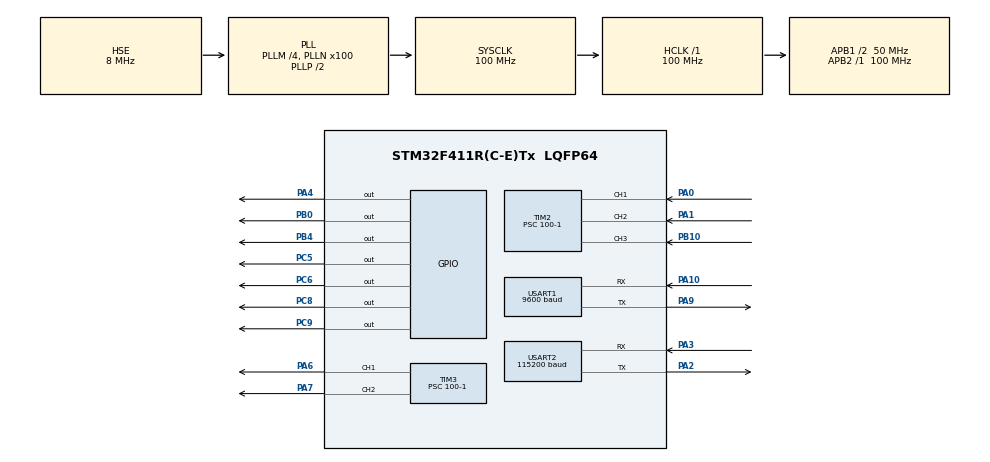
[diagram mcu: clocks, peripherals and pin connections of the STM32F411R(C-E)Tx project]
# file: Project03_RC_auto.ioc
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Mcu.Family=STM32F4
Mcu.Name=STM32F411R(C-E)Tx
Mcu.Package=LQFP64
NVIC.PriorityGroup=NVIC_PRIORITYGROUP_4
NVIC.TIM2_IRQn=true\:0\:0\:false\:false\:true\:true\:true\:true
NVIC.USART1_IRQn=true\:0\:0\:false\:false\:true\:true\:true\:true
NVIC.USART2_IRQn=true\:0\:0\:false\:false\:true\:true\:true\:true
PA0-WKUP.Signal=S_TIM2_CH1_ETR
PA1.Signal=S_TIM2_CH2
PA10.Mode=Asynchronous
PA10.Signal=USART1_RX
PA13.Mode=Serial_Wire
PA13.Signal=SYS_JTMS-SWDIO
PA14.Mode=Serial_Wire
PA14.Signal=SYS_JTCK-SWCLK
PA2.Mode=Asynchronous
PA2.Signal=USART2_TX
PA3.Mode=Asynchronous
PA3.Signal=USART2_RX
PA4.Signal=GPIO_Output
PA6.Signal=S_TIM3_CH1
PA7.Signal=S_TIM3_CH2
PA9.Mode=Asynchronous
PA9.Signal=USART1_TX
PB0.Signal=GPIO_Output
PB10.Signal=S_TIM2_CH3
PB4.Signal=GPIO_Output
PC5.Signal=GPIO_Output
PC6.Signal=GPIO_Output
PC8.Signal=GPIO_Output
PC9.Signal=GPIO_Output
PH0\ -\ OSC_IN.Mode=HSE-External-Clock-Source
PH0\ -\ OSC_IN.Signal=RCC_OSC_IN
PH1\ -\ OSC_OUT.Mode=HSE-External-Clock-Source
PH1\ -\ OSC_OUT.Signal=RCC_OSC_OUT
ProjectManager.HeapSize=0x200
ProjectManager.StackSize=0x400
ProjectManager.TargetToolchain=STM32CubeIDE
RCC.48MHZClocksFreq_Value=50000000
RCC.AHBFreq_Value=100000000
RCC.APB1CLKDivider=RCC_HCLK_DIV2
RCC.APB1Freq_Value=50000000
RCC.APB1TimFreq_Value=100000000
RCC.APB2Freq_Value=100000000
RCC.APB2TimFreq_Value=100000000
RCC.CortexFreq_Value=100000000
RCC.HCLKFreq_Value=100000000
RCC.HSE_VALUE=8000000
RCC.HSI_VALUE=16000000
RCC.LSE_VALUE=32768
RCC.PLLM=4
RCC.PLLN=100
RCC.PLLSourceVirtual=RCC_PLLSOURCE_HSE
RCC.SYSCLKFreq_VALUE=100000000
RCC.SYSCLKSource=RCC_SYSCLKSOURCE_PLLCLK
RCC.VCOOutputFreq_Value=200000000
SH.S_TIM2_CH1_ETR.0=TIM2_CH1,Input_Capture1_from_TI1
SH.S_TIM2_CH2.0=TIM2_CH2,Input_Capture2_from_TI2
SH.S_TIM2_CH3.0=TIM2_CH3,Input_Capture3_from_TI3
SH.S_TIM3_CH1.0=TIM3_CH1,PWM Generation1 CH1
SH.S_TIM3_CH2.0=TIM3_CH2,PWM Generation2 CH2
TIM11.Prescaler=100-1
TIM2.Channel-Input_Capture1_from_TI1=TIM_CHANNEL_1
TIM2.Channel-Input_Capture2_from_TI2=TIM_CHANNEL_2
TIM2.Channel-Input_Capture3_from_TI3=TIM_CHANNEL_3
TIM2.Prescaler=100-1
TIM3.Channel-PWM\ Generation1\ CH1=TIM_CHANNEL_1
TIM3.Channel-PWM\ Generation2\ CH2=TIM_CHANNEL_2
TIM3.Period=1000-1
TIM3.Prescaler=100-1
USART1.BaudRate=9600
USART1.VirtualMode=VM_ASYNC
USART2.BaudRate=115200
USART2.VirtualMode=VM_ASYNC
VP_TIM11_VS_ClockSourceINT.Mode=Enable_Timer
VP_TIM2_VS_ClockSourceINT.Mode=Internal
VP_TIM3_VS_ClockSourceINT.Mode=Internal
board=custom

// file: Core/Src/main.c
/* USER CODE BEGIN Header */
/**
  ******************************************************************************
  * @file           : main.c
  * @brief          : Main program body
  ******************************************************************************
  * @attention
  *
  * Copyright (c) 2026 STMicroelectronics.
  * All rights reserved.
  *
  * This software is licensed under terms that can be found in the LICENSE file
  * in the root directory of this software component.
  * If no LICENSE file comes with this software, it is provided AS-IS.
  *
  ******************************************************************************
  */
/* USER CODE END Header */
#include "main.h"
#include "tim.h"
#include "usart.h"
#include "gpio.h"

/* USER CODE BEGIN Includes */

#include <string.h>
#include <stdio.h>

#include "motor.h"
#include "delay.h"
#include "ultrasonic.h"
#include "auto.h"

/* USER CODE END Includes */

/* USER CODE BEGIN PM */

#ifdef __GNUC__
/* With GCC small printf (option LD Linker->Libraries->Small printf
 * set to 'Yes') calls __io_putchar() */
#define PUTCHAR_PROTOTYPE int  __io_putchar(int ch)
#else
#define PUTCHAR_PROTOTYPE int  fputc(int ch, FILE *f)
#endif /* __GNUC__*/

/** @brief Retargets the C library printf function to the USART.
 *  @param None
 *  @retval None
 */
PUTCHAR_PROTOTYPE
{
  /* Place your implementation of fputc here */
  /* e.g. write a character to the USART2 and Loop
     until the end of transmission */
  if (ch == '\n')
  {
    HAL_UART_Transmit(&huart1, (uint8_t*)"\r", 1, 0xFFFF);
  }
  HAL_UART_Transmit(&huart1, (uint8_t*)&ch, 1, 0xFFFF);
  return ch;
}

/* USER CODE END PM */

/* USER CODE BEGIN PV */

uint8_t rxData[1];

/* USER CODE END PV */

void SystemClock_Config(void);
/* USER CODE BEGIN PFP */

void HAL_TIM_IC_CaptureCallback(TIM_HandleTypeDef *htim)
{
    Ultrasonic_OnCapture(htim);
}

void HAL_UART_RxCpltCallback(UART_HandleTypeDef *huart)
{
    if (huart->Instance != USART1)
        return;

    const char *message = NULL;

    switch (rxData[0])
    {
        case 'w':
						Auto_Off();
            Motor_Forward(600);
            message = "Forward\r\n";
            break;

        case 'a':
						Auto_Off();
            Motor_Left(500);
            message = "Left\r\n";
            break;

        case 's':
						Auto_Off();
            Motor_Backward(600);
            message = "Backward\r\n";
            break;

        case 'd':
						Auto_Off();
            Motor_Right(500);
            message = "Right\r\n";
            break;

//        case 'c':
//            Motor_Stop();
//            message = "Stop\r\n";
//            break;
        case 'c':
            Auto_Off();
            message = "Stop\r\n";
            break;

        case 'p':
            Auto_On();
            message = "Auto Mode On\r\n";
            break;

        default:
            /* 아무 동작/출력 없음 */
            break;
    }

    if (message != NULL)
    {
        HAL_UART_Transmit_IT(&huart1, (uint8_t*)message, strlen(message));
    }

    /* 다음 수신 재시작 */
    HAL_UART_Receive_IT(&huart1, rxData, 1);
}

/* USER CODE END PFP */

int main(void)
{

  /* MCU Configuration--------------------------------------------------------*/

  /* Reset of all peripherals, Initializes the Flash interface and the Systick. */
  HAL_Init();

  /* Configure the system clock */
  SystemClock_Config();

  /* Initialize all configured peripherals */
  MX_GPIO_Init();
  MX_USART2_UART_Init();
  MX_TIM3_Init();
  MX_USART1_UART_Init();
  MX_TIM2_Init();
  MX_TIM11_Init();

  /* USER CODE BEGIN 2 */

  Motor_Init();

  /* (주의) USART 수신은 실제 사용하는 UART 1개만 쓰는 게 안전합니다.
     현재 콜백은 USART1만 처리하므로, 아래는 USART1만 남기는 것을 권장합니다. */
  HAL_UART_Receive_IT(&huart1, rxData, 1);

  HAL_TIM_Base_Start(&htim11);

  HAL_TIM_IC_Start_IT(&htim2, TIM_CHANNEL_1);
  HAL_TIM_IC_Start_IT(&htim2, TIM_CHANNEL_2);
  HAL_TIM_IC_Start_IT(&htim2, TIM_CHANNEL_3);

  Ultrasonic_Init(&htim2);
  Auto_Init();

  /* USER CODE END 2 */

  /* Infinite loop */
  /* USER CODE BEGIN WHILE */
  while (1)
  {

      uint32_t now = HAL_GetTick();

      /* 초음파 트리거/주기 출력/거리 업데이트(라운드로빈) */
      Ultrasonic_Task(now);

      /* Auto 모드이면 여기서 주기적으로 판단해서 모터 제어 */
      Auto_Task(now);

    /* USER CODE END WHILE */

  }
}

void SystemClock_Config(void)
{
  RCC_OscInitTypeDef RCC_OscInitStruct = {0};
  RCC_ClkInitTypeDef RCC_ClkInitStruct = {0};

  /** Configure the main internal regulator output voltage
  */
  __HAL_RCC_PWR_CLK_ENABLE();
  __HAL_PWR_VOLTAGESCALING_CONFIG(PWR_REGULATOR_VOLTAGE_SCALE1);

  /** Initializes the RCC Oscillators according to the specified parameters
  * in the RCC_OscInitTypeDef structure.
  */
  RCC_OscInitStruct.OscillatorType = RCC_OSCILLATORTYPE_HSE;
  RCC_OscInitStruct.HSEState = RCC_HSE_BYPASS;
  RCC_OscInitStruct.PLL.PLLState = RCC_PLL_ON;
  RCC_OscInitStruct.PLL.PLLSource = RCC_PLLSOURCE_HSE;
  RCC_OscInitStruct.PLL.PLLM = 4;
  RCC_OscInitStruct.PLL.PLLN = 100;
  RCC_OscInitStruct.PLL.PLLP = RCC_PLLP_DIV2;
  RCC_OscInitStruct.PLL.PLLQ = 4;
  if (HAL_RCC_OscConfig(&RCC_OscInitStruct) != HAL_OK)
  {
    Error_Handler();
  }

  /** Initializes the CPU, AHB and APB buses clocks
  */
  RCC_ClkInitStruct.ClockType = RCC_CLOCKTYPE_HCLK|RCC_CLOCKTYPE_SYSCLK
                              |RCC_CLOCKTYPE_PCLK1|RCC_CLOCKTYPE_PCLK2;
  RCC_ClkInitStruct.SYSCLKSource = RCC_SYSCLKSOURCE_PLLCLK;
  RCC_ClkInitStruct.AHBCLKDivider = RCC_SYSCLK_DIV1;
  RCC_ClkInitStruct.APB1CLKDivider = RCC_HCLK_DIV2;
  RCC_ClkInitStruct.APB2CLKDivider = RCC_HCLK_DIV1;

  if (HAL_RCC_ClockConfig(&RCC_ClkInitStruct, FLASH_LATENCY_3) != HAL_OK)
  {
    Error_Handler();
  }
}

void Error_Handler(void)
{
  __disable_irq();
  while (1)
  {
  }
}
